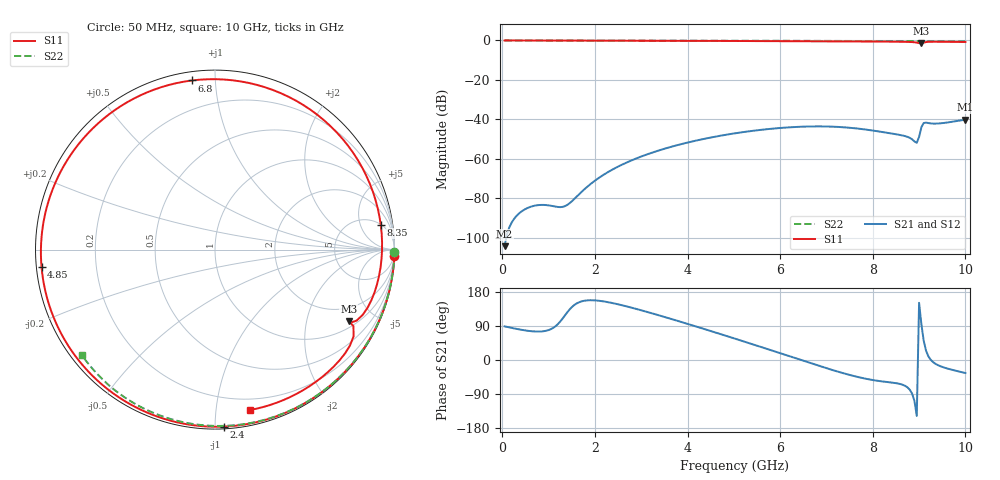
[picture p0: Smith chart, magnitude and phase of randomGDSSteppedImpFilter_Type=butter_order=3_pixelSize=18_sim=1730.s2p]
! freq	dB(S11)	phase(S11)	dB(S12)	phase(S12)
!  dB(S21)	phase(S21)	dB(S22)	phase(S22)
!S-par simulation data
#  GHz  S  DB  R 50
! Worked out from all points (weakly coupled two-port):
!   200 points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, 50 MHz to 10 GHz, reference 50 ohm
!   highest |S21| = -40.17 dB at 10 GHz (marker M1); lowest = -104.4 dB at 50 MHz (marker M2)
!   lowest |S11| = -1.5 dB at 9.05 GHz (marker M3), VSWR 11.95, Z = 63.4 - j178 ohm
!   |S11| at or under -10 dB: nowhere
!   |S22| runs from -0.5 to 0.0 dB; largest |S21 - S12| = 0
!   S11 on the Smith chart (normalised r, x): 50 MHz: 0, -61; 2.4 GHz: 0.01, -1.05; 4.85 GHz: 0.01, -0.05; 6.8 GHz: 0.04, +0.87; 8.35 GHz: 5, +11; 10 GHz: 0.11, -1.23
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0.05  -0.00 -1.9  -104.37 88.8  -104.37 88.8  -0.00 -0.8
0.75  -0.03 -27.9  -83.62 75.0  -83.62 75.0  -0.02 -12.3
1.55  -0.07 -57.1  -80.53 144.6  -80.53 144.6  -0.03 -25.1
1.75  -0.08 -64.2  -75.99 155.9  -75.99 155.9  -0.04 -28.3
2.4  -0.11 -87.2  -65.23 149.7  -65.23 149.7  -0.05 -38.5
3.4  -0.16 -121.9  -55.66 117.3  -55.66 117.3  -0.07 -53.8
4.15  -0.20 -148.3  -50.98 89.7  -50.98 89.7  -0.09 -64.9
4.85  -0.25 -174.2  -47.77 63.1  -47.77 63.1  -0.11 -74.9
5.05  -0.27 178.0  -47.02 55.4  -47.02 55.4  -0.12 -77.8
5.85  -0.34 144.4  -44.71 23.9  -44.71 23.9  -0.15 -88.7
6.7  -0.43 103.0  -43.62 -10.0  -43.62 -10.0  -0.19 -100.0
6.8  -0.44 97.7  -43.60 -13.9  -43.60 -13.9  -0.20 -101.4
7.15  -0.47 78.6  -43.76 -27.3  -43.76 -27.3  -0.22 -105.9
7.5  -0.50 58.6  -44.29 -39.4  -44.29 -39.4  -0.24 -110.4
7.95  -0.54 32.1  -45.53 -51.8  -45.53 -51.8  -0.28 -116.1
8.35  -0.60 8.5  -47.00 -58.7  -47.00 -58.7  -0.31 -121.1
8.75  -0.72 -14.9  -48.91 -72.3  -48.91 -72.3  -0.34 -126.1
8.95  -1.08 -26.6  -51.93 -147.5  -51.93 -147.5  -0.36 -128.6
9.05  -1.46 -28.2  -44.01 94.2  -44.01 94.2  -0.38 -129.9
9.1  -1.10 -28.9  -41.88 50.8  -41.88 50.8  -0.39 -130.4
9.5  -0.66 -52.7  -41.95 -18.3  -41.95 -18.3  -0.42 -135.4
10  -0.77 -77.8  -40.17 -34.4  -40.17 -34.4  -0.48 -141.6
